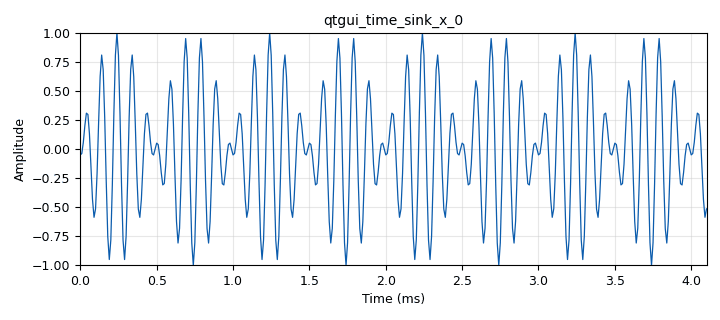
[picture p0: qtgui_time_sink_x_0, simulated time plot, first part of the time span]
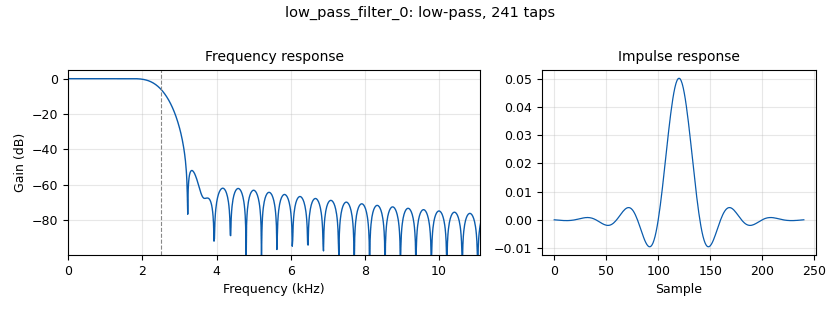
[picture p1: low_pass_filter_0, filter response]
options:
  parameters:
    author: 'Yuvraj '
    generate_options: qt_gui
    id: Amp
    output_language: python
    title: AMP Modulation
  states: {}

blocks:
- name: baseband_amplitude
  id: variable_qtgui_range
  parameters:
    label: BaseBand Amplitude
    start: '0'
    step: '0.1'
    stop: '2'
    value: '1'
  states: {}
- name: baseband_frequency
  id: variable_qtgui_range
  parameters:
    label: BaseBand requency
    start: '0'
    step: '1000'
    stop: '50000'
    value: '1000'
  states: {}
- name: carrier_frequency
  id: variable_qtgui_range
  parameters:
    label: Carrier Frequency
    start: '0'
    step: '1000'
    stop: '50000'
    value: '10000'
  states: {}
- name: samp_rate
  id: variable
  parameters:
    value: '100000'
  states: {}
- name: analog_sig_source_x_0
  id: analog_sig_source_x
  parameters:
    alias: BASE BAND
    amp: baseband_amplitude
    comment: BASE BAND
    freq: baseband_frequency
    offset: '0'
    phase: '0'
    samp_rate: samp_rate
    type: float
    waveform: analog.GR_COS_WAVE
  states: {}
- name: analog_sig_source_x_1
  id: analog_sig_source_x
  parameters:
    amp: '1'
    freq: '10000'
    offset: '0'
    phase: '0'
    samp_rate: samp_rate
    type: float
    waveform: analog.GR_COS_WAVE
  states: {}
- name: analog_sig_source_x_2
  id: analog_sig_source_x
  parameters:
    amp: '1'
    freq: '10000'
    offset: '0'
    phase: '0'
    samp_rate: samp_rate
    type: float
    waveform: analog.GR_COS_WAVE
  states: {}
- name: blocks_complex_to_float_0
  id: blocks_complex_to_float
  parameters: {}
  states: {}
- name: blocks_float_to_complex_0
  id: blocks_float_to_complex
  parameters: {}
  states: {}
- name: blocks_multiply_const_vxx_0
  id: blocks_multiply_const_vxx
  parameters:
    const: '10'
    type: complex
  states: {}
- name: blocks_multiply_xx_0
  id: blocks_multiply_xx
  parameters:
    type: float
  states: {}
- name: blocks_multiply_xx_1
  id: blocks_multiply_xx
  parameters:
    type: float
  states: {}
- name: low_pass_filter_0
  id: low_pass_filter
  parameters:
    cutoff_freq: '2500'
    decim: '1'
    gain: '1'
    samp_rate: samp_rate
    type: fir_filter_fff
    width: '1000'
    win: window.WIN_HAMMING
  states: {}
- name: qtgui_sink_x_0
  id: qtgui_sink_x
  parameters:
    bw: samp_rate
    fc: '0'
    fftsize: '1024'
    type: float
  states: {}
- name: qtgui_time_sink_x_0
  id: qtgui_time_sink_x
  parameters:
    size: '1024'
    srate: samp_rate
    type: float
  states: {}
- name: qtgui_time_sink_x_0_0
  id: qtgui_time_sink_x
  parameters:
    size: '1024'
    srate: samp_rate
    type: float
  states: {}
- name: uhd_usrp_sink_0
  id: uhd_usrp_sink
  parameters:
    ant0: '"TX/RX"'
    center_freq0: 2.4e9
    gain0: '70'
    samp_rate: samp_rate
    sync: none
    type: fc32
  states: {}
- name: uhd_usrp_source_0
  id: uhd_usrp_source
  parameters:
    ant0: '"RX2"'
    center_freq0: 2.4e9
    gain0: '80'
    samp_rate: samp_rate
    sync: none
    type: fc32
  states: {}

connections:
- [analog_sig_source_x_0, '0', blocks_multiply_xx_0, '0']
- [analog_sig_source_x_1, '0', blocks_multiply_xx_0, '1']
- [analog_sig_source_x_2, '0', blocks_multiply_xx_1, '1']
- [blocks_complex_to_float_0, '0', blocks_multiply_xx_1, '0']
- [blocks_float_to_complex_0, '0', uhd_usrp_sink_0, '0']
- [blocks_multiply_const_vxx_0, '0', blocks_complex_to_float_0, '0']
- [blocks_multiply_xx_0, '0', blocks_float_to_complex_0, '0']
- [blocks_multiply_xx_0, '0', qtgui_time_sink_x_0, '0']
- [blocks_multiply_xx_1, '0', low_pass_filter_0, '0']
- [low_pass_filter_0, '0', qtgui_sink_x_0, '0']
- [low_pass_filter_0, '0', qtgui_time_sink_x_0_0, '0']
- [uhd_usrp_source_0, '0', blocks_multiply_const_vxx_0, '0']

metadata:
  file_format: 1
  grc_version: 3.10.12.0
